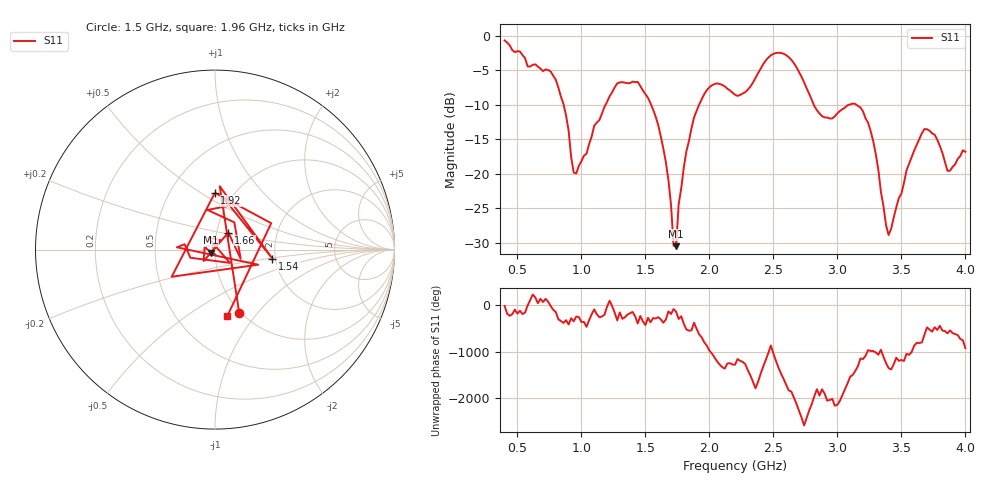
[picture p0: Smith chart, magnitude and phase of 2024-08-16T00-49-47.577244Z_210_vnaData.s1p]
!Created with skrf (http://scikit-rf.org).
# Hz S RI R 50.0
!freq ReS11 ImS11
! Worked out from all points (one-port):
!   181 points, 400 MHz to 4 GHz, reference 50 ohm
!   lowest |S11| = -30.5 dB at 1.74 GHz (marker M1), VSWR 1.06, Z = 47.6 - j1.7 ohm
!   |S11| at or under -10 dB: 861.1 MHz to 1.189 GHz (328.2 MHz wide, 32 % of centre); 1.544 GHz to 1.92 GHz (376 MHz wide, 21.7 % of centre); 3.146 GHz to end of sweep (the widest 3 of 4)
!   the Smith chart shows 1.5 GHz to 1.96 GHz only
!   S11 on the Smith chart (normalised r, x): 1.5 GHz: 0.98, -0.81; 1.54 GHz: 1.92, -0.21; 1.66 GHz: 1.14, +0.22; 1.92 GHz: 0.82, +0.57; 1.96 GHz: 0.85, -0.74
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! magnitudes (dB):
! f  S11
! 400 MHz  -0.7
! 760 MHz  -5.2
! 860 MHz  -9.9
! 940 MHz  -19.9
! 960 MHz  -20.0
! 1.3 GHz  -6.8
! 1.5 GHz  -8.5
! 1.54 GHz  -9.8
! 1.66 GHz  -18.4
! 1.7 GHz  -24.5
! 1.72 GHz  -30.4
! 1.74 GHz  -30.5
! 1.76 GHz  -24.4
! 1.82 GHz  -16.8
! 1.92 GHz  -10.0
! 1.96 GHz  -8.5
! 2.2 GHz  -8.6
! 2.5 GHz  -2.7
! 2.66 GHz  -4.0
! 2.88 GHz  -11.7
! 3.1 GHz  -10.0
! 3.26 GHz  -13.8
! 3.4 GHz  -28.9
! 3.56 GHz  -18.6
! 3.68 GHz  -13.6
! 3.76 GHz  -14.4
! 3.86 GHz  -19.6
! 4 GHz  -16.8
